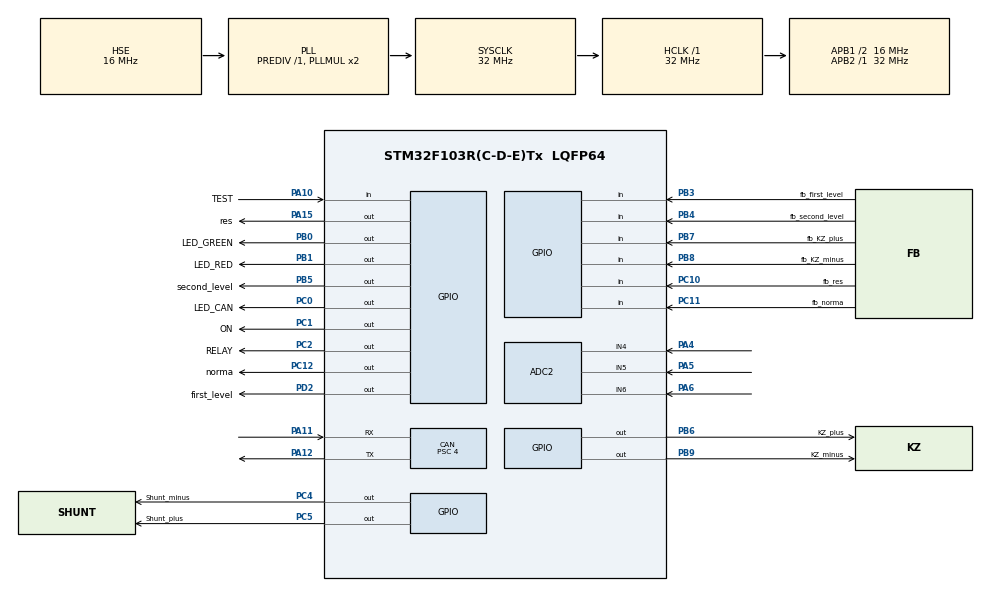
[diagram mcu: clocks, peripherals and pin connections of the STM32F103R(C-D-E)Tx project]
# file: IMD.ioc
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ADC2.Channel-2\#ChannelInjectedConversion=ADC_CHANNEL_4
ADC2.Channel-3\#ChannelInjectedConversion=ADC_CHANNEL_5
ADC2.Channel-5\#ChannelInjectedConversion=ADC_CHANNEL_6
ADC2.EnableInjectedConversion=ENABLE
ADC2.EnableRegularConversion=DISABLE
ADC2.InjNumberOfConversion=3
ADC2.InjectedOffset-2\#ChannelInjectedConversion=0
ADC2.InjectedOffset-3\#ChannelInjectedConversion=0
ADC2.InjectedOffset-5\#ChannelInjectedConversion=0
ADC2.InjectedRank-2\#ChannelInjectedConversion=1
ADC2.InjectedRank-3\#ChannelInjectedConversion=2
ADC2.InjectedRank-5\#ChannelInjectedConversion=3
ADC2.SamplingTime-2\#ChannelInjectedConversion=ADC_SAMPLETIME_28CYCLES_5
ADC2.SamplingTime-3\#ChannelInjectedConversion=ADC_SAMPLETIME_28CYCLES_5
ADC2.SamplingTime-5\#ChannelInjectedConversion=ADC_SAMPLETIME_28CYCLES_5
CAN.ABOM=ENABLE
CAN.BS1=CAN_BS1_12TQ
CAN.BS2=CAN_BS2_3TQ
CAN.CalculateBaudRate=250000
CAN.CalculateTimeBit=4000
CAN.CalculateTimeQuantum=250.0
CAN.NART=ENABLE
CAN.Prescaler=4
CAN.TXFP=ENABLE
Mcu.Family=STM32F1
Mcu.Name=STM32F103R(C-D-E)Tx
Mcu.Package=LQFP64
NVIC.ADC1_2_IRQn=true\:0\:0\:false\:false\:true\:true\:true
NVIC.PriorityGroup=NVIC_PRIORITYGROUP_4
NVIC.USB_LP_CAN1_RX0_IRQn=true\:0\:0\:false\:false\:true\:true\:true
PA10.GPIO_Label=TEST
PA10.Signal=GPIO_Input
PA11.Mode=CAN_Activate
PA11.Signal=CAN_RX
PA12.Mode=CAN_Activate
PA12.Signal=CAN_TX
PA13.Mode=Serial_Wire
PA13.Signal=SYS_JTMS-SWDIO
PA14.Mode=Serial_Wire
PA14.Signal=SYS_JTCK-SWCLK
PA15.GPIO_Label=res
PA15.Signal=GPIO_Output
PA4.Signal=ADCx_IN4
PA5.Signal=ADCx_IN5
PA6.Signal=ADCx_IN6
PB0.GPIO_Label=LED_GREEN
PB0.Signal=GPIO_Output
PB1.GPIO_Label=LED_RED
PB1.Signal=GPIO_Output
PB3.GPIO_Label=fb_first_level
PB3.Signal=GPIO_Input
PB4.GPIO_Label=fb_second_level
PB4.Signal=GPIO_Input
PB5.GPIO_Label=second_level
PB5.Signal=GPIO_Output
PB6.GPIO_Label=KZ_plus
PB6.Signal=GPIO_Output
PB7.GPIO_Label=fb_KZ_plus
PB7.Signal=GPIO_Input
PB8.GPIO_Label=fb_KZ_minus
PB8.Signal=GPIO_Input
PB9.GPIO_Label=KZ_minus
PB9.Signal=GPIO_Output
PC0.GPIO_Label=LED_CAN
PC0.Signal=GPIO_Output
PC1.GPIO_Label=ON
PC1.Signal=GPIO_Output
PC10.GPIO_Label=fb_res
PC10.Signal=GPIO_Input
PC11.GPIO_Label=fb_norma
PC11.Signal=GPIO_Input
PC12.GPIO_Label=norma
PC12.Signal=GPIO_Output
PC2.GPIO_Label=RELAY
PC2.Signal=GPIO_Output
PC4.GPIO_Label=Shunt_minus
PC4.Signal=GPIO_Output
PC5.GPIO_Label=Shunt_plus
PC5.Signal=GPIO_Output
PD0-OSC_IN.Mode=HSE-External-Oscillator
PD0-OSC_IN.Signal=RCC_OSC_IN
PD1-OSC_OUT.Mode=HSE-External-Oscillator
PD1-OSC_OUT.Signal=RCC_OSC_OUT
PD2.GPIO_Label=first_level
PD2.Signal=GPIO_Output
ProjectManager.HeapSize=0x200
ProjectManager.StackSize=0x400
ProjectManager.TargetToolchain=STM32CubeIDE
RCC.ADCPresc=RCC_ADCPCLK2_DIV4
RCC.AHBFreq_Value=32000000
RCC.APB1CLKDivider=RCC_HCLK_DIV2
RCC.APB1Freq_Value=16000000
RCC.APB1TimFreq_Value=32000000
RCC.APB2Freq_Value=32000000
RCC.APB2TimFreq_Value=32000000
RCC.HCLKFreq_Value=32000000
RCC.HSE_VALUE=16000000
RCC.PLLSourceVirtual=RCC_PLLSOURCE_HSE
RCC.SYSCLKFreq_VALUE=32000000
RCC.SYSCLKSource=RCC_SYSCLKSOURCE_PLLCLK
RCC.USBFreq_Value=32000000
SH.ADCx_IN4.0=ADC1_IN4
SH.ADCx_IN4.1=ADC2_IN4,IN4
SH.ADCx_IN5.0=ADC1_IN5
SH.ADCx_IN5.1=ADC2_IN5,IN5
SH.ADCx_IN6.0=ADC2_IN6,IN6
board=custom

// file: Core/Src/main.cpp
/* USER CODE BEGIN Header */
/**
  ******************************************************************************
  * @file           : main.c
  * @brief          : Main program body
  ******************************************************************************
  * @attention
  *
  * Copyright (c) 2023 STMicroelectronics.
  * All rights reserved.
  *
  * This software is licensed under terms that can be found in the LICENSE file
  * in the root directory of this software component.
  * If no LICENSE file comes with this software, it is provided AS-IS.
  *
  ******************************************************************************
  */
/* USER CODE END Header */
#include "main.h"

/* USER CODE BEGIN Includes */
#include "timers.h"
//#include "flash.h"

/* USER CODE END Includes */

ADC_HandleTypeDef hadc2;

CAN_HandleTypeDef hcan;

void SystemClock_Config(void);
static void MX_GPIO_Init(void);
static void MX_CAN_Init(void);
static void MX_ADC2_Init(void);

/* USER CODE BEGIN 0 */

#include "device.h"

/* USER CODE END 0 */

int main(void)
{

  /* MCU Configuration--------------------------------------------------------*/

  /* Reset of all peripherals, Initializes the Flash interface and the Systick. */
  HAL_Init();

  /* Configure the system clock */
  SystemClock_Config();

  /* Initialize all configured peripherals */
  MX_GPIO_Init();
  MX_CAN_Init();
  MX_ADC2_Init();
  /* USER CODE BEGIN 2 */

//  struct Flash_data {
//       uint8_t address   = 10;
//       uint8_t baudrate  = 0;
//       uint8_t parity    = 0;
//       uint8_t stop_bits = 0;
//       uint8_t version   = 10;
//       uint16_t uv_level_max = 0x0100;
//    }flash;
//
//    [[maybe_unused]] auto _ = Flash_updater<
//         mcu::FLASH_::Sector::_31
//       , mcu::FLASH_::Sector::_30
//    >::make (&flash);

  // создание объектов

  decltype(auto) led_red     = Pin{GPIOB, LED_RED_Pin        };
  decltype(auto) led_green   = Pin{GPIOB, LED_GREEN_Pin      };
  decltype(auto) on          = Pin{GPIOC, ON_Pin             };
  decltype(auto) relay       = Pin{GPIOC, RELAY_Pin          };
//  decltype(auto) relay_r     = Pin{GPIOC, RELAY_R_Pin        };
  decltype(auto) led_can     = Pin{GPIOC, LED_CAN_Pin        };
  decltype(auto) test        = Pin{GPIOA, TEST_Pin           };
//  decltype(auto) res         = Pin{GPIOA, res_Pin            };
//  decltype(auto) fb_res      = Pin{GPIOC, fb_res_Pin         };
  decltype(auto) norma       = Pin{GPIOC, norma_Pin          };
  decltype(auto) fb_norma    = Pin{GPIOC, fb_norma_Pin       };
  decltype(auto) first_level = Pin{GPIOD, first_level_Pin    };
  decltype(auto) fb_first    = Pin{GPIOB, fb_first_level_Pin };
  decltype(auto) second_level= Pin{GPIOB, second_level_Pin   };
  decltype(auto) fb_second   = Pin{GPIOB, fb_second_level_Pin};
  decltype(auto) KZ_plus     = Pin{GPIOB, KZ_plus_Pin        };
  decltype(auto) fb_KZ_plus  = Pin{GPIOB, fb_KZ_plus_Pin     };
  decltype(auto) KZ_minus    = Pin{GPIOB, KZ_minus_Pin       };
  decltype(auto) fb_KZ_minus = Pin{GPIOB, fb_KZ_minus_Pin    };
  decltype(auto) shunt_minus = Pin{GPIOC, Shunt_minus_Pin    };
  decltype(auto) shunt_plus  = Pin{GPIOC, Shunt_plus_Pin     };

//  State state{};

  decltype(auto) adc = ADC_ {adc_injected_callback, 75};

  decltype(auto) can = CAN<In_id, Out_id, Out_id_2>{led_can, interrupt_can_rx, 100};

  decltype(auto) device = Device{adc, can, led_red, led_green, on, relay, shunt_plus, shunt_minus, test, norma, fb_norma, first_level, fb_first, second_level, fb_second, KZ_plus, fb_KZ_plus, KZ_minus, fb_KZ_minus};

  /* USER CODE END 2 */

  /* Infinite loop */
  /* USER CODE BEGIN WHILE */
  while (1)
  {
	  device();
    /* USER CODE END WHILE */

  }
}

void SystemClock_Config(void)
{
  RCC_OscInitTypeDef RCC_OscInitStruct = {0};
  RCC_ClkInitTypeDef RCC_ClkInitStruct = {0};
  RCC_PeriphCLKInitTypeDef PeriphClkInit = {0};

  /** Initializes the RCC Oscillators according to the specified parameters
  * in the RCC_OscInitTypeDef structure.
  */
  RCC_OscInitStruct.OscillatorType = RCC_OSCILLATORTYPE_HSE;
  RCC_OscInitStruct.HSEState = RCC_HSE_ON;
  RCC_OscInitStruct.HSEPredivValue = RCC_HSE_PREDIV_DIV1;
  RCC_OscInitStruct.HSIState = RCC_HSI_ON;
  RCC_OscInitStruct.PLL.PLLState = RCC_PLL_ON;
  RCC_OscInitStruct.PLL.PLLSource = RCC_PLLSOURCE_HSE;
  RCC_OscInitStruct.PLL.PLLMUL = RCC_PLL_MUL2;
  if (HAL_RCC_OscConfig(&RCC_OscInitStruct) != HAL_OK)
  {
    Error_Handler();
  }
  /** Initializes the CPU, AHB and APB buses clocks
  */
  RCC_ClkInitStruct.ClockType = RCC_CLOCKTYPE_HCLK|RCC_CLOCKTYPE_SYSCLK
                              |RCC_CLOCKTYPE_PCLK1|RCC_CLOCKTYPE_PCLK2;
  RCC_ClkInitStruct.SYSCLKSource = RCC_SYSCLKSOURCE_PLLCLK;
  RCC_ClkInitStruct.AHBCLKDivider = RCC_SYSCLK_DIV1;
  RCC_ClkInitStruct.APB1CLKDivider = RCC_HCLK_DIV2;
  RCC_ClkInitStruct.APB2CLKDivider = RCC_HCLK_DIV1;

  if (HAL_RCC_ClockConfig(&RCC_ClkInitStruct, FLASH_LATENCY_1) != HAL_OK)
  {
    Error_Handler();
  }
  PeriphClkInit.PeriphClockSelection = RCC_PERIPHCLK_ADC;
  PeriphClkInit.AdcClockSelection = RCC_ADCPCLK2_DIV4;
  if (HAL_RCCEx_PeriphCLKConfig(&PeriphClkInit) != HAL_OK)
  {
    Error_Handler();
  }
}

static void MX_ADC2_Init(void)
{

  ADC_InjectionConfTypeDef sConfigInjected = {0};

  /** Common config
  */
  hadc2.Instance = ADC2;
  hadc2.Init.ScanConvMode = ADC_SCAN_ENABLE;
  hadc2.Init.ContinuousConvMode = DISABLE;
  hadc2.Init.DiscontinuousConvMode = DISABLE;
  hadc2.Init.ExternalTrigConv = ADC_SOFTWARE_START;
  hadc2.Init.DataAlign = ADC_DATAALIGN_RIGHT;
  hadc2.Init.NbrOfConversion = 1;
  if (HAL_ADC_Init(&hadc2) != HAL_OK)
  {
    Error_Handler();
  }
  /** Configure Injected Channel
  */
  sConfigInjected.InjectedChannel = ADC_CHANNEL_4;
  sConfigInjected.InjectedRank = ADC_INJECTED_RANK_1;
  sConfigInjected.InjectedNbrOfConversion = 3;
  sConfigInjected.InjectedSamplingTime = ADC_SAMPLETIME_28CYCLES_5;
  sConfigInjected.ExternalTrigInjecConv = ADC_INJECTED_SOFTWARE_START;
  sConfigInjected.AutoInjectedConv = DISABLE;
  sConfigInjected.InjectedDiscontinuousConvMode = DISABLE;
  sConfigInjected.InjectedOffset = 0;
  if (HAL_ADCEx_InjectedConfigChannel(&hadc2, &sConfigInjected) != HAL_OK)
  {
    Error_Handler();
  }
  /** Configure Injected Channel
  */
  sConfigInjected.InjectedChannel = ADC_CHANNEL_5;
  sConfigInjected.InjectedRank = ADC_INJECTED_RANK_2;
  if (HAL_ADCEx_InjectedConfigChannel(&hadc2, &sConfigInjected) != HAL_OK)
  {
    Error_Handler();
  }
  /** Configure Injected Channel
  */
  sConfigInjected.InjectedChannel = ADC_CHANNEL_6;
  sConfigInjected.InjectedRank = ADC_INJECTED_RANK_3;
  if (HAL_ADCEx_InjectedConfigChannel(&hadc2, &sConfigInjected) != HAL_OK)
  {
    Error_Handler();
  }

}

static void MX_CAN_Init(void)
{

  hcan.Instance = CAN1;
  hcan.Init.Prescaler = 4;
  hcan.Init.Mode = CAN_MODE_NORMAL;
  hcan.Init.SyncJumpWidth = CAN_SJW_1TQ;
  hcan.Init.TimeSeg1 = CAN_BS1_12TQ;
  hcan.Init.TimeSeg2 = CAN_BS2_3TQ;
  hcan.Init.TimeTriggeredMode = DISABLE;
  hcan.Init.AutoBusOff = ENABLE;
  hcan.Init.AutoWakeUp = DISABLE;
  hcan.Init.AutoRetransmission = ENABLE;
  hcan.Init.ReceiveFifoLocked = DISABLE;
  hcan.Init.TransmitFifoPriority = ENABLE;
  if (HAL_CAN_Init(&hcan) != HAL_OK)
  {
    Error_Handler();
  }
  /* USER CODE BEGIN CAN_Init 2 */

  CAN_FilterTypeDef canfilterconfig;

  	canfilterconfig.FilterActivation = CAN_FILTER_ENABLE;
  	canfilterconfig.FilterBank = 0;
  	canfilterconfig.FilterFIFOAssignment = CAN_FILTER_FIFO0;
  	canfilterconfig.FilterIdHigh = 0;
  	canfilterconfig.FilterIdLow = 0;
  	canfilterconfig.FilterMaskIdHigh = 0;
  	canfilterconfig.FilterMaskIdLow = 0;
  	canfilterconfig.FilterMode = CAN_FILTERMODE_IDMASK;
  	canfilterconfig.FilterScale = CAN_FILTERSCALE_32BIT;
  	canfilterconfig.SlaveStartFilterBank = 14; // how many filters to assign to the CAN1 (master can)

  	HAL_CAN_ConfigFilter(&hcan, &canfilterconfig);

  	HAL_CAN_Start(&hcan);
  	HAL_CAN_ActivateNotification(&hcan, CAN_IT_RX_FIFO0_MSG_PENDING);

  /* USER CODE END CAN_Init 2 */

}

static void MX_GPIO_Init(void)
{
  GPIO_InitTypeDef GPIO_InitStruct = {0};

  /* GPIO Ports Clock Enable */
  __HAL_RCC_GPIOD_CLK_ENABLE();
  __HAL_RCC_GPIOC_CLK_ENABLE();
  __HAL_RCC_GPIOA_CLK_ENABLE();
  __HAL_RCC_GPIOB_CLK_ENABLE();

  /*Configure GPIO pin Output Level */
  HAL_GPIO_WritePin(GPIOC, LED_CAN_Pin|ON_Pin|RELAY_Pin|Shunt_minus_Pin
                          |Shunt_plus_Pin|norma_Pin, GPIO_PIN_RESET);

  /*Configure GPIO pin Output Level */
  HAL_GPIO_WritePin(GPIOB, LED_GREEN_Pin|LED_RED_Pin|second_level_Pin|KZ_plus_Pin
                          |KZ_minus_Pin, GPIO_PIN_RESET);

  /*Configure GPIO pin Output Level */
  HAL_GPIO_WritePin(res_GPIO_Port, res_Pin, GPIO_PIN_RESET);

  /*Configure GPIO pin Output Level */
  HAL_GPIO_WritePin(first_level_GPIO_Port, first_level_Pin, GPIO_PIN_RESET);

  /*Configure GPIO pins : LED_CAN_Pin ON_Pin RELAY_Pin Shunt_minus_Pin
                           Shunt_plus_Pin norma_Pin */
  GPIO_InitStruct.Pin = LED_CAN_Pin|ON_Pin|RELAY_Pin|Shunt_minus_Pin
                          |Shunt_plus_Pin|norma_Pin;
  GPIO_InitStruct.Mode = GPIO_MODE_OUTPUT_PP;
  GPIO_InitStruct.Pull = GPIO_NOPULL;
  GPIO_InitStruct.Speed = GPIO_SPEED_FREQ_LOW;
  HAL_GPIO_Init(GPIOC, &GPIO_InitStruct);

  /*Configure GPIO pins : PA4 PA5 */
  GPIO_InitStruct.Pin = GPIO_PIN_4|GPIO_PIN_5;
  GPIO_InitStruct.Mode = GPIO_MODE_ANALOG;
  HAL_GPIO_Init(GPIOA, &GPIO_InitStruct);

  /*Configure GPIO pins : LED_GREEN_Pin LED_RED_Pin second_level_Pin KZ_plus_Pin
                           KZ_minus_Pin */
  GPIO_InitStruct.Pin = LED_GREEN_Pin|LED_RED_Pin|second_level_Pin|KZ_plus_Pin
                          |KZ_minus_Pin;
  GPIO_InitStruct.Mode = GPIO_MODE_OUTPUT_PP;
  GPIO_InitStruct.Pull = GPIO_NOPULL;
  GPIO_InitStruct.Speed = GPIO_SPEED_FREQ_LOW;
  HAL_GPIO_Init(GPIOB, &GPIO_InitStruct);

  /*Configure GPIO pin : TEST_Pin */
  GPIO_InitStruct.Pin = TEST_Pin;
  GPIO_InitStruct.Mode = GPIO_MODE_INPUT;
  GPIO_InitStruct.Pull = GPIO_NOPULL;
  HAL_GPIO_Init(TEST_GPIO_Port, &GPIO_InitStruct);

  /*Configure GPIO pin : res_Pin */
  GPIO_InitStruct.Pin = res_Pin;
  GPIO_InitStruct.Mode = GPIO_MODE_OUTPUT_PP;
  GPIO_InitStruct.Pull = GPIO_NOPULL;
  GPIO_InitStruct.Speed = GPIO_SPEED_FREQ_LOW;
  HAL_GPIO_Init(res_GPIO_Port, &GPIO_InitStruct);

  /*Configure GPIO pins : fb_res_Pin fb_norma_Pin */
  GPIO_InitStruct.Pin = fb_res_Pin|fb_norma_Pin;
  GPIO_InitStruct.Mode = GPIO_MODE_INPUT;
  GPIO_InitStruct.Pull = GPIO_NOPULL;
  HAL_GPIO_Init(GPIOC, &GPIO_InitStruct);

  /*Configure GPIO pin : first_level_Pin */
  GPIO_InitStruct.Pin = first_level_Pin;
  GPIO_InitStruct.Mode = GPIO_MODE_OUTPUT_PP;
  GPIO_InitStruct.Pull = GPIO_NOPULL;
  GPIO_InitStruct.Speed = GPIO_SPEED_FREQ_LOW;
  HAL_GPIO_Init(first_level_GPIO_Port, &GPIO_InitStruct);

  /*Configure GPIO pins : fb_first_level_Pin fb_second_level_Pin fb_KZ_plus_Pin fb_KZ_minus_Pin */
  GPIO_InitStruct.Pin = fb_first_level_Pin|fb_second_level_Pin|fb_KZ_plus_Pin|fb_KZ_minus_Pin;
  GPIO_InitStruct.Mode = GPIO_MODE_INPUT;
  GPIO_InitStruct.Pull = GPIO_NOPULL;
  HAL_GPIO_Init(GPIOB, &GPIO_InitStruct);

}

void Error_Handler(void)
{
  __disable_irq();
  while (1)
  {
  }
}
